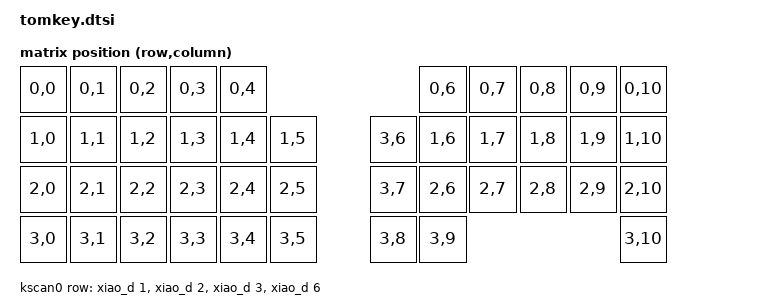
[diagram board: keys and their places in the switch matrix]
#include <dt-bindings/zmk/matrix_transform.h>
#include <physical_layouts.dtsi>

#define INPUT_EV_KEY 0x01               /**< Key event */
#define INPUT_EV_REL 0x02               /**< Relative coordinate event */
#define INPUT_EV_ABS 0x03               /**< Absolute coordinate event */
#define INPUT_EV_MSC 0x04               /**< Miscellaneous event */
#define INPUT_EV_VENDOR_START 0xf0      /**< Vendor specific event start */
#define INPUT_EV_VENDOR_STOP 0xff       /**< Vendor specific event stop */
#define INPUT_REL_X 0x00                /**< Relative X coordinate */
#define INPUT_REL_Y 0x01                /**< Relative Y coordinate */
#define INPUT_REL_WHEEL 0x08            /**< Relative wheel coordinate */
#define INPUT_REL_HWHEEL 0x06           /**< Relative horizontal wheel coordinate */
#define INPUT_REL_MISC 0x09             /**< Relative misc coordinate */
/ {
    chosen {
        zmk,physical-layout = &tomkey_physical_layout;
        zephyr,display = &oled;
    };

    tomkey_physical_layout: tomkey_physical_layout {
        compatible = "zmk,physical-layout";
        display-name = "Default";
        transform = <&default_transform>;
        kscan = <&kscan0>;

        keys  //                     w   h    x    y     rot    rx    ry
            = <&key_physical_attrs 100 100    0    0       0     0     0>
            , <&key_physical_attrs 100 100  100    0       0     0     0>
            , <&key_physical_attrs 100 100  200    0       0     0     0>
            , <&key_physical_attrs 100 100  300    0       0     0     0>
            , <&key_physical_attrs 100 100  400    0       0     0     0>

            , <&key_physical_attrs 100 100  800    0       0     0     0>
            , <&key_physical_attrs 100 100  900    0       0     0     0>
            , <&key_physical_attrs 100 100 1000    0       0     0     0>
            , <&key_physical_attrs 100 100 1100    0       0     0     0>
            , <&key_physical_attrs 100 100 1200    0       0     0     0>

            , <&key_physical_attrs 100 100    0  100       0     0     0>
            , <&key_physical_attrs 100 100  100  100       0     0     0>
            , <&key_physical_attrs 100 100  200  100       0     0     0>
            , <&key_physical_attrs 100 100  300  100       0     0     0>
            , <&key_physical_attrs 100 100  400  100       0     0     0>
            , <&key_physical_attrs 100 100  500  100       0     0     0>

            , <&key_physical_attrs 100 100  700  100       0     0     0>
            , <&key_physical_attrs 100 100  800  100       0     0     0>
            , <&key_physical_attrs 100 100  900  100       0     0     0>
            , <&key_physical_attrs 100 100 1000  100       0     0     0>
            , <&key_physical_attrs 100 100 1100  100       0     0     0>
            , <&key_physical_attrs 100 100 1200  100       0     0     0>

            , <&key_physical_attrs 100 100    0  200       0     0     0>
            , <&key_physical_attrs 100 100  100  200       0     0     0>
            , <&key_physical_attrs 100 100  200  200       0     0     0>
            , <&key_physical_attrs 100 100  300  200       0     0     0>
            , <&key_physical_attrs 100 100  400  200       0     0     0>
            , <&key_physical_attrs 100 100  500  200       0     0     0>

            , <&key_physical_attrs 100 100  700  200       0     0     0>
            , <&key_physical_attrs 100 100  800  200       0     0     0>
            , <&key_physical_attrs 100 100  900  200       0     0     0>
            , <&key_physical_attrs 100 100 1000  200       0     0     0>
            , <&key_physical_attrs 100 100 1100  200       0     0     0>
            , <&key_physical_attrs 100 100 1200  200       0     0     0>

            , <&key_physical_attrs 100 100    0  300       0     0     0>
            , <&key_physical_attrs 100 100  100  300       0     0     0>
            , <&key_physical_attrs 100 100  200  300       0     0     0>
            , <&key_physical_attrs 100 100  300  300       0     0     0>
            , <&key_physical_attrs 100 100  400  300       0     0     0>
            , <&key_physical_attrs 100 100  500  300       0     0     0>

            , <&key_physical_attrs 100 100  700  300       0     0     0>
            , <&key_physical_attrs 100 100  800  300       0     0     0>

            , <&key_physical_attrs 100 100 1200  300       0     0     0>
            ;
    };

    default_transform: keymap_transform_0 {
        compatible = "zmk,matrix-transform";
        columns = <11>;
        rows = <4>;
        map = <
            RC(0,0) RC(0,1) RC(0,2) RC(0,3) RC(0,4)                     RC(0,6) RC(0,7) RC(0,8) RC(0,9) RC(0,10)
            RC(1,0) RC(1,1) RC(1,2) RC(1,3) RC(1,4) RC(1,5)     RC(3,6) RC(1,6) RC(1,7) RC(1,8) RC(1,9) RC(1,10)
            RC(2,0) RC(2,1) RC(2,2) RC(2,3) RC(2,4) RC(2,5)     RC(3,7) RC(2,6) RC(2,7) RC(2,8) RC(2,9) RC(2,10)
            RC(3,0) RC(3,1) RC(3,2) RC(3,3) RC(3,4) RC(3,5)     RC(3,8) RC(3,9)                         RC(3,10)
        >;
    };

    kscan0: kscan {
        compatible = "zmk,kscan-gpio-matrix";
        label = "KSCAN";
        diode-direction = "col2row";
            row-gpios
                = <&xiao_d 1 (GPIO_ACTIVE_HIGH | GPIO_PULL_DOWN)>
                , <&xiao_d 2 (GPIO_ACTIVE_HIGH | GPIO_PULL_DOWN)>
                , <&xiao_d 3 (GPIO_ACTIVE_HIGH | GPIO_PULL_DOWN)>
                , <&xiao_d 6 (GPIO_ACTIVE_HIGH | GPIO_PULL_DOWN)>
                ;
    };

};

&pinctrl {
    spi0_default: spi0_default {
        group1 {
            psels = <NRF_PSEL(SPIM_SCK, 0, 5)>,
                <NRF_PSEL(SPIM_MOSI, 0, 4)>,
                <NRF_PSEL(SPIM_MISO, 0, 4)>;
        };
    };

    spi0_sleep: spi0_sleep {
        group1 {
            psels = <NRF_PSEL(SPIM_SCK, 0, 5)>,
                <NRF_PSEL(SPIM_MOSI, 0, 4)>,
                <NRF_PSEL(SPIM_MISO, 0, 4)>;
            low-power-enable;
        };
    };

    i2c1_default: i2c1_default {
        group1 {
            psels = <NRF_PSEL(TWIM_SDA, 0, 4)>,
                    <NRF_PSEL(TWIM_SCL, 0, 5)>;
        };
    };

    i2c1_sleep: i2c1_sleep {
        group1 {
            psels = <NRF_PSEL(TWIM_SDA, 0, 4)>,
                    <NRF_PSEL(TWIM_SCL, 0, 5)>;
            low-power-enable;
        };
    };
};

&i2c1 {
    status = "okay";
    compatible = "nordic,nrf-twi";
    pinctrl-0 = <&i2c1_default>;
    pinctrl-1 = <&i2c1_sleep>;
    pinctrl-names = "default", "sleep";

    clock-frequency = <100000>;
    oled: ssd1306@3c {
        compatible = "solomon,ssd1306fb";
        reg = <0x3c>;
        width = <128>;
        height = <32>;
        segment-offset = <0>;
        page-offset = <0>;
        display-offset = <0>;
        multiplex-ratio = <31>;
        com-sequential;
        inversion-on;
        prechargep = <0x22>;
    };
};

&xiao_serial { status = "disabled"; };
